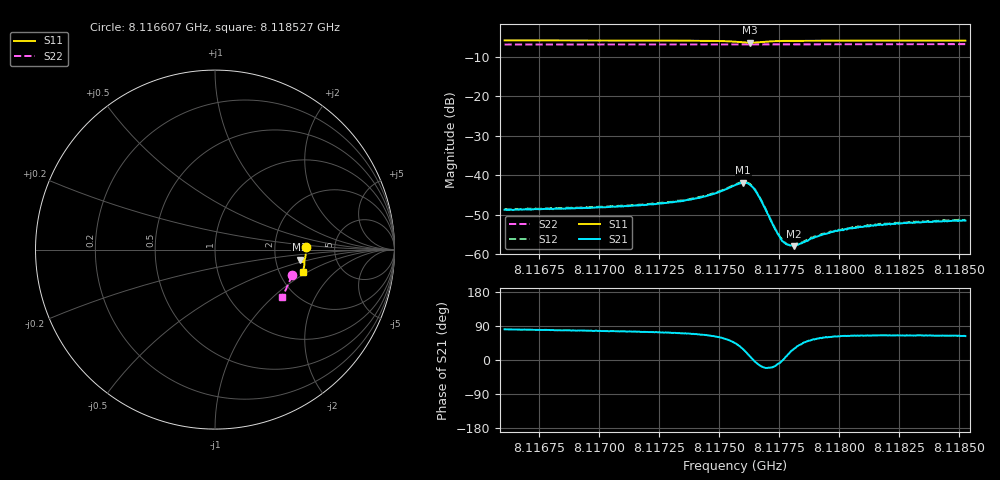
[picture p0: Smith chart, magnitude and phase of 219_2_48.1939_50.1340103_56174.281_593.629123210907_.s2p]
#  HZ  S  RI  R  50.00
! Rohde & Schwarz Vector Network Analyzer
! Rohde-Schwarz,ZNB20-2Port,1311601062101988,3.16
! Created: UTC 3/20/2024, 11:45:52 AM
! freq[Hz]  re:S11  im:S11  re:S21  im:S21  re:S12  im:S12  re:S22  im:S22
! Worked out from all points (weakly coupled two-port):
!   401 points, 8.116607 GHz to 8.118527 GHz, reference 50 ohm
!   highest |S21| = -41.91 dB at 8.117601 GHz (marker M1); lowest = -58.0 dB at 8.117812 GHz (marker M2)
!   lowest |S11| = -6.5 dB at 8.117629 GHz (marker M3), VSWR 2.81, Z = 137 - j20 ohm
!   |S11| at or under -10 dB: nowhere
!   |S22| runs from -6.9 to -6.8 dB; largest |S21 - S12| = 0.00022
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8.1166066e9  0.5067 0.0131  0.000574 0.0036  0.000644 0.00364  0.4267 -0.143
8.1169283e9  0.5059 -0.0117  0.000815 0.00374  0.000862 0.0038  0.4199 -0.1642
8.11725e9  0.5039 -0.0378  0.00128 0.00416  0.00135 0.00424  0.4119 -0.1855
8.1173604e9  0.502 -0.0478  0.00161 0.00453  0.00169 0.00455  0.4091 -0.1925
8.1174277e9  0.4998 -0.0545  0.00208 0.00484  0.00213 0.00491  0.4069 -0.1971
8.1174949e9  0.4957 -0.0621  0.00294 0.00527  0.00303 0.00538  0.4047 -0.2014
8.1175669e9  0.4843 -0.0688  0.00531 0.00527  0.00547 0.00531  0.4023 -0.2058
8.1176005e9  0.4752 -0.0661  0.00705 0.00384  0.00721 0.00384  0.4012 -0.2076
8.1176293e9  0.4712 -0.0566  0.00747 0.00123  0.00764 0.00122  0.4003 -0.2089
8.1176438e9  0.4729 -0.0513  0.00688 -5.81e-05  0.00699 -9.17e-05  0.4 -0.2095
8.117663e9  0.4783 -0.047  0.0055 -0.0011  0.0056 -0.00119  0.3997 -0.2105
8.1177302e9  0.4936 -0.0517  0.0021 -0.000651  0.00214 -0.000661  0.3984 -0.215
8.1177542e9  0.4959 -0.055  0.00163 -0.000224  0.00163 -0.00022  0.3976 -0.2165
8.1177686e9  0.4969 -0.0572  0.00143 4.17e-05  0.00148 1.25e-05  0.3974 -0.2176
8.117783e9  0.4975 -0.0591  0.00131 0.000246  0.00131 0.000263  0.3968 -0.2185
8.1178118e9  0.4983 -0.0628  0.00111 0.000608  0.00121 0.000583  0.396 -0.2203
8.1178406e9  0.4987 -0.0661  0.00103 0.000896  0.00107 0.000929  0.3951 -0.2223
8.1178886e9  0.4988 -0.0711  0.000945 0.00127  0.000999 0.00129  0.3937 -0.2253
8.1179943e9  0.498 -0.0811  0.000917 0.00175  0.00096 0.00173  0.3902 -0.232
8.1180759e9  0.4972 -0.088  0.000931 0.00197  0.001 0.00199  0.3873 -0.237
8.1182104e9  0.4952 -0.0988  0.00101 0.0022  0.00108 0.0022  0.3828 -0.2452
8.1185273e9  0.4898 -0.1227  0.0012 0.00237  0.00125 0.00244  0.3709 -0.2641
